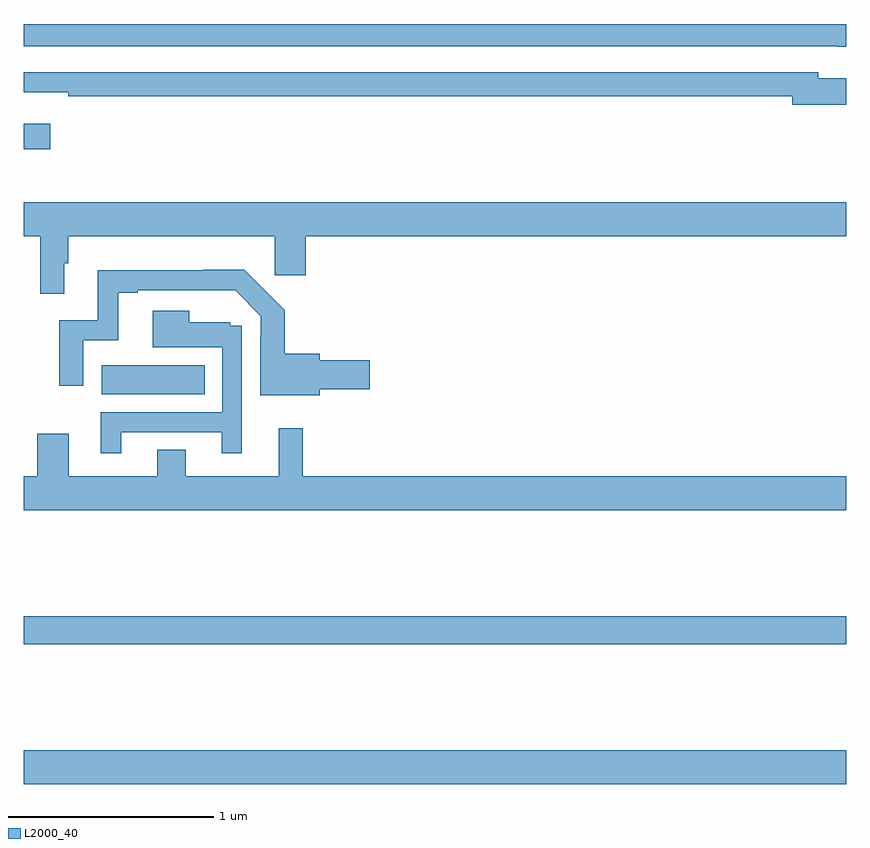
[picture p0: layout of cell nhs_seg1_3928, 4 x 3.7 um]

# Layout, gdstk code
import gdstk
lib = gdstk.Library(unit=1e-6, precision=1e-09)
def R(c, l, rs):  # rectangles x0, y0, x1, y1
    for r in rs: c.add(gdstk.rectangle(r[:2], r[2:], *l))
def P(c, l, *ps):  # polygons
    for p in ps: c.add(gdstk.Polygon(p, *l))
L2000_40 = (2000, 40)

nhs_seg1_3928 = lib.new_cell('nhs_seg1_3928')
R(nhs_seg1_3928, L2000_40, [(325,546.404,329,546.568), (325,547.084,329,547.22), (325.38,548.3,325.88,548.44), (325,549.491,325.129,549.613)])
P(nhs_seg1_3928, L2000_40, [(329,550.099),(325,550.099),(325,549.99),(328.96,549.99),(328.96,549.989),(329,549.989)],
  [(329,549.835),(328.864,549.835),(328.864,549.864),(325,549.864),(325,549.767),(325.216,549.767),(325.216,549.748),(328.736,549.748),(328.736,549.706),(329,549.706)],
  [(325.198,548.936),(325.217,548.936),(325.217,549.068),(326.221,549.068),(326.221,548.877),(326.372,548.877),(326.372,549.068),(329,549.068),(329,549.232),(325,549.232),(325,549.068),(325.081,549.068),(325.081,548.787),(325.198,548.787)],
  [(326.44,548.323),(326.683,548.323),(326.683,548.465),(326.44,548.465),(326.44,548.496),(326.27,548.496),(326.27,548.707),(326.072,548.905),(325.873,548.905),(325.873,548.902),(325.361,548.902),(325.361,548.658),(325.174,548.658),(325.174,548.34),(325.29,548.34),(325.29,548.562),(325.459,548.562),(325.459,548.793),(325.555,548.793),(325.555,548.805),(326.029,548.805),(326.154,548.679),(326.154,548.579),(326.151,548.579),(326.151,548.294),(326.44,548.294)],
  [(325.474,548.115),(325.964,548.115),(325.964,548.013),(326.061,548.013),(326.061,548.631),(326.004,548.631),(326.004,548.65),(325.804,548.65),(325.804,548.704),(325.628,548.704),(325.628,548.528),(325.965,548.528),(325.965,548.211),(325.376,548.211),(325.376,548.013),(325.474,548.013)],
  [(329,547.9),(326.357,547.9),(326.357,548.134),(326.24,548.134),(326.24,547.9),(325.789,547.9),(325.789,548.03),(325.649,548.03),(325.649,547.9),(325.219,547.9),(325.219,548.107),(325.067,548.107),(325.067,547.9),(325,547.9),(325,547.736),(329,547.736)])

lib.write_gds('nhs_seg1_3928.gds')
